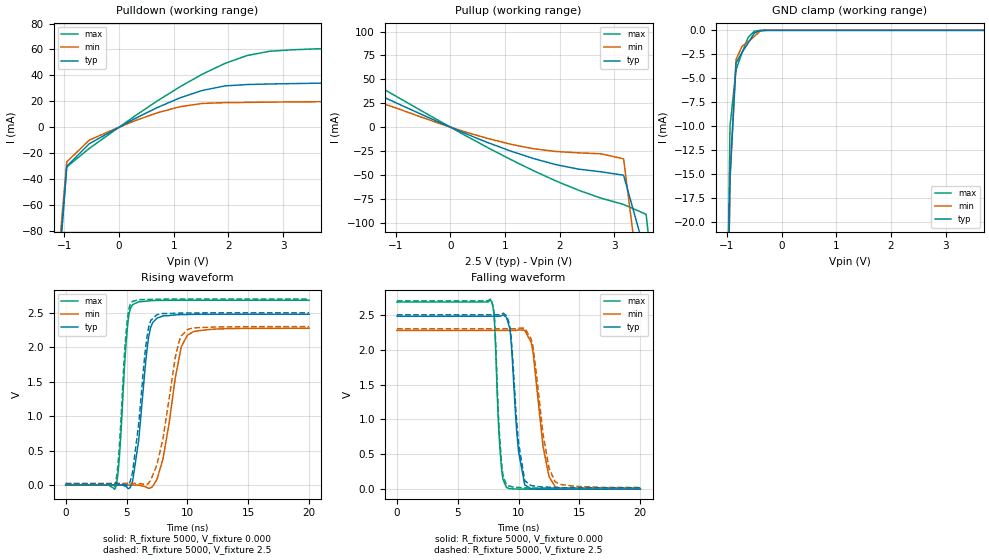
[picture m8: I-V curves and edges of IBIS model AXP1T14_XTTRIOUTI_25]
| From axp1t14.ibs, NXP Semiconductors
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|   Model AXP1T14_XTTRIOUTI_25
[Model]   AXP1T14_XTTRIOUTI_25
Model_type   Output
Polarity   Inverting
Vmeas =  1.25V
Cref  =  5e-12
Rref  =  10e+3
Vref  =  0V
C_comp   1.9670pF   1.7680pF   2.1190pF
[Model Spec]
| Note: The input and output voltage ratings may be exceeded if the input and
|   output current ratings are observed (please refer to the data sheet)
|   Subparameter   typ   min   max
| Timing Thresholds
Vmeas   1.25   1.15   1.35
|Ambient temperature:   25   85   -40
[Temperature Range]   30   90   -35
[Voltage Range]   2.5   2.3   2.7
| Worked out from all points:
|   slope of the pulldown table from 0 to 0.375 V, typ, clamps not added: 44.5 ohm
|   slope of the pullup table from 0 to 0.375 V, typ, clamps not added: 41.5 ohm
|   GND clamp passes 1 mA (typ) near -0.58 V on its own axis
|   rising waveform, R_fixture 5000, V_fixture 0.000: 20-80 % time 825ps typ, 1.23ns min, 541ps max; typ from 0 V to 2.48 V
|   rising waveform, R_fixture 5000, V_fixture 2.5: 20-80 % time 846ps typ, 1.26ns min, 534ps max; typ from 0.02 V to 2.5 V
|   falling waveform, R_fixture 5000, V_fixture 0.000: 20-80 % time 605ps typ, 912ps min, 405ps max; typ from 2.48 V to 0 V
|   falling waveform, R_fixture 5000, V_fixture 2.5: 20-80 % time 673ps typ, 998ps min, 425ps max; typ from 2.5 V to 0.02 V
|Process Range   nominal   slow   fast
[GND_clamp]
|   voltage   I(typ)   I(min)   I(max)
-5.5V     -2.957A    -2.756A    -3.17A
-1.056V   -61.76mA   -55.78mA   -55.53mA
-944.4mV  -15.58mA   -15.38mA   -10.03mA
-833.3mV  -3.412mA   -3.047mA   -4.112mA
-722.2mV  -2.287mA   -1.662mA   -2.321mA
-611.1mV  -1.33mA    -1.186mA   -742.4uA
-500mV    -281.9uA   -644uA     -90.52uA
-388.9mV  -19.05uA   -70.75uA   -2.215uA
-277.8mV  -361.9nA   -2.29uA    -18.13nA
11V       0A         0A         0A
[Pulldown]
|   voltage   I(typ)   I(min)   I(max)
-5.5V     -2.957A    -2.757A    -3.172A
-1.371V   -248mA     -226mA     -259mA
-958mV    -30.2mA    -26.9mA    -30.7mA
-545mV    -12.8mA    -10mA      -16.4mA
281mV     6.4mA      4.83mA     8.36mA
1.107V    22.5mA     15.7mA     31mA
1.932V    31.8mA     18.9mA     49.1mA
2.345V    32.9mA     19.1mA     55.3mA
3.171V    33.6mA     19.5mA     59.7mA
7.3V      39.7mA     23.7mA     67.9mA
8.539V    46.5mA     28.3mA     77mA
11V       68mA       42mA       108mA
[Pullup]
|   voltage   I(typ)   I(min)   I(max)
-5.5V     137.6mA    108.8mA    175.6mA
-4.261V   108mA      84.92mA    137.4mA
-3.435V   87.56mA    68.75mA    111.2mA
-3.023V   77.19mA    60.58mA    97.97mA
-132.1mV  3.287mA    2.515mA    4.257mA
1.107V    -25.06mA   -17.95mA   -33.93mA
1.932V    -39.22mA   -25.46mA   -56.25mA
2.758V    -46.73mA   -27.88mA   -74.27mA
3.171V    -50.25mA   -33.19mA   -80.89mA
3.584V    -135mA     -219.8mA   -91.19mA
3.997V    -403.3mA   -477.3mA   -314.4mA
11V       -5.373A    -5.116A    -5.658A
[Ramp]
| variable   typ   min   max
dV/dt_r  1.5330E+00/8.2140E-10  1.4060E+00/1.2140E-09  1.6610E+00/5.6080E-10
dV/dt_f  1.5330E+00/6.1550E-10  1.4060E+00/9.1230E-10  1.6610E+00/4.2550E-10
R_load = 5000
[Rising Waveform]
R_fixture   = 5000
V_fixture   = 0.000
V_fixture_min = 0.000
V_fixture_max = 0.000
| time   V(typ)   V(min)   V(max)
0s        6.761nV    11.28nV    5.309nV
4.1ns     14.58uV    1.394uV    -36.07mV
4.42ns    443.7uV    -1.079uV   431.3mV
5.08ns    -40.78mV   8.467uV    2.301V
5.5ns     57.11mV    319.3uV    2.619V
6.8ns     2.129V     -46.23mV   2.674V
7.5ns     2.423V     81.19mV    2.68V
9.5ns     2.474V     2.01V      2.683V
10ns      2.476V     2.175V     2.683V
20ns      2.48V      2.276V     2.683V
[Rising Waveform]
R_fixture   = 5000
V_fixture   = 2.5
V_fixture_min = 2.3
V_fixture_max = 2.7
| time   V(typ)   V(min)   V(max)
0s        19.84mV    24.13mV    16.37mV
4.04ns    19.83mV    24.13mV    -3.625mV
4.38ns    20.18mV    24.13mV    485.8mV
5ns       -375uV     24.13mV    2.282V
5.5ns     195.3mV    24.43mV    2.666V
6.72ns    2.196V     13.02mV    2.693V
7.5ns     2.473V     293.8mV    2.698V
9ns       2.494V     1.849V     2.699V
10ns      2.498V     2.257V     2.7V
20ns      2.5V       2.3V       2.7V
[Falling Waveform]
R_fixture   = 5000
V_fixture   = 0.000
V_fixture_min = 0.000
V_fixture_max = 0.000
| time   V(typ)   V(min)   V(max)
0s        2.48V      2.276V     2.683V
7.76ns    2.48V      2.276V     2.695V
8ns       2.48V      2.276V     2.445V
8.56ns    2.486V     2.276V     373.5mV
9ns       2.463V     2.276V     24.39mV
9.34ns    2.198V     2.276V     7.008mV
10ns      532.2mV    2.284V     1.542mV
10.5ns    62.38mV    2.278V     1.55mV
13ns      1.397mV    37.02mV    11.7uV
20ns      66.22nV    17.68uV    10.12nV
[Falling Waveform]
R_fixture   = 5000
V_fixture   = 2.5
V_fixture_min = 2.3
V_fixture_max = 2.7
| time   V(typ)   V(min)   V(max)
0s        2.5V       2.3V       2.7V
7.76ns    2.5V       2.3V       2.714V
8.02ns    2.5V       2.3V       2.432V
8.58ns    2.507V     2.3V       416.6mV
9.02ns    2.48V      2.3V       60.77mV
10.5ns    123.2mV    2.307V     18.95mV
11.14ns   49.31mV    2.078V     16.96mV
12ns      29.94mV    793.7mV    16.48mV
13ns      22.49mV    105.7mV    16.39mV
20ns      19.84mV    24.17mV    16.37mV
